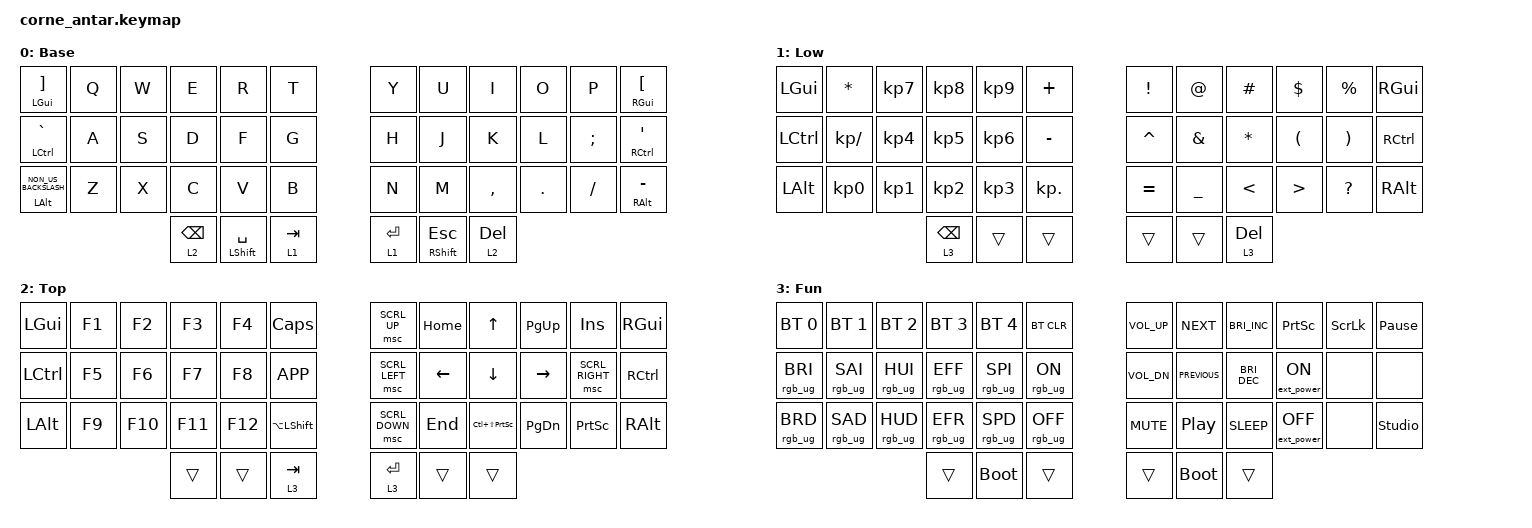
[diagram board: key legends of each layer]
/*
 * Copyright (c) 2020 The ZMK Contributors
 *
 * SPDX-License-Identifier: MIT
 */
//#include <boards/shields/corne_antar/boards/nice_nano.overlay>

#define ZMK_BEHAVIORS_OMIT_KT

#include <behaviors.dtsi>
#include <dt-bindings/zmk/bt.h>
#include <dt-bindings/zmk/ext_power.h>
#include <dt-bindings/zmk/keys.h>
#include <dt-bindings/zmk/pointing.h>
#include <dt-bindings/zmk/rgb.h>

/ {
    combos {
        compatible = "zmk,combos";

        ctrl-z {
            bindings = <&kp LC(Z)>;
            key-positions = <25 23>;
        };

        ctrl-x {
            bindings = <&kp LC(X)>;
            key-positions = <26 23>;
        };

        ctrl-c {
            bindings = <&kp LC(C)>;
            key-positions = <27 23>;
        };

        ctrl-v {
            bindings = <&kp LC(V)>;
            key-positions = <28 23>;
        };

        ctrl-shift-c {
            bindings = <&kp LC(LS(C))>;
            key-positions = <37 27 23>;
        };

        ctrl-shift-v {
            bindings = <&kp LS(LC(V))>;
            key-positions = <37 28 23>;
        };

        ctrl-z-2 {
            bindings = <&kp LC(Z)>;
            key-positions = <12 25>;
        };

        ctrl-x-2 {
            bindings = <&kp LC(X)>;
            key-positions = <12 26>;
        };

        ctrl-c-2 {
            bindings = <&kp LC(C)>;
            key-positions = <27 12>;
        };

        ctrl-v-2 {
            bindings = <&kp LC(V)>;
            key-positions = <12 28>;
        };

        ctrl-shift-c-2 {
            bindings = <&kp LC(LS(C))>;
            key-positions = <12 37 27>;
        };

        ctrl-shift-v-2 {
            bindings = <&kp LS(LC(V))>;
            key-positions = <12 28 37>;
        };
    };

    keymap {
        compatible = "zmk,keymap";

        default_layer {
            // -------------------------------------------------------------------------------------
            // |  TAB |  Q  |  W  |  E  |  R  |  T  |       |  Y  |  U   |  I  |  O  |  P  |   BKSP    |
            // | CTRL |  A  |  S  |  D  |  F  |  G  |       |  H  |  J   |  K  |  L  |  ;  |    '      |
            // | SHFT |  Z  |  X  |  C  |  V  |  B  |       |  N  |  M   |  ,  |  .  |  -  | SHFT(RET) |
            //                    | WIN | LWR | SPA |       | RTN | RSE  | ALT |

            display-name = "Base";
            bindings = <
&mt LEFT_GUI RIGHT_BRACKET     &kp Q  &kp W  &kp E            &kp R                 &kp T        &kp Y        &kp U                   &kp I         &kp O    &kp P      &mt RIGHT_GUI LEFT_BRACKET
&mt LCTRL GRAVE                &kp A  &kp S  &kp D            &kp F                 &kp G        &kp H        &kp J                   &kp K         &kp L    &kp SEMI   &mt RCTRL SQT
&mt LEFT_ALT NON_US_BACKSLASH  &kp Z  &kp X  &kp C            &kp V                 &kp B        &kp N        &kp M                   &kp COMMA     &kp DOT  &kp SLASH  &mt RIGHT_ALT MINUS
                                             &lt 2 BACKSPACE  &mt LEFT_SHIFT SPACE  &lt 1 TAB    &lt 1 ENTER  &mt RIGHT_SHIFT ESCAPE  &lt 2 DELETE
            >;
        };

        lower_layer {
            // ----------------------------------------------------------------------------------
            // |  ESC |  1   |  2  |  3   |  4     |  5  |          |  6  |  7  |  8  |  9  |  0   |    DEL   |
            // |  CAPS|      |     |      |        |     |          | HOME| PGUP|  UP |PGDN |  ?   |     ^    |
            // | SHFT | UNDO | CUT | COPY | PASTE| |     |          | END | LFT | DWN | RGT | PRSC | SHFT(RET)|
            //                              |     |     |          | RET | ADJ |    |

            display-name = "Low";
            bindings = <
&kp LEFT_GUI      &kp ASTERISK     &kp KP_NUMBER_7  &kp KP_NUMBER_8  &kp KP_NUMBER_9  &kp PLUS      &kp EXCLAMATION  &kp AT_SIGN     &kp HASH       &kp DOLLAR            &kp PERCENT            &kp RIGHT_GUI
&kp LEFT_CONTROL  &kp KP_DIVIDE    &kp KP_NUMBER_4  &kp KP_NUMBER_5  &kp KP_NUMBER_6  &kp MINUS     &kp CARET        &kp AMPERSAND   &kp ASTERISK   &kp LEFT_PARENTHESIS  &kp RIGHT_PARENTHESIS  &kp RIGHT_CONTROL
&kp LEFT_ALT      &kp KP_NUMBER_0  &kp KP_NUMBER_1  &kp KP_NUMBER_2  &kp KP_NUMBER_3  &kp KP_DOT    &kp EQUAL        &kp UNDERSCORE  &kp LESS_THAN  &kp GT                &kp QUESTION           &kp RIGHT_ALT
                                                    &lt 3 BACKSPACE  &trans           &trans        &trans           &trans          &lt 3 DELETE
            >;
        };

        // -----------------------------------------------------------------------------------------
        // |  ESC |  !  |  @  |  #  |  $  |  %  |   |  &  |  /  |  (  |  )  |  =  | DEL |
        // | CTRL |   ? |     |     |     |     |   |  -  |  *  |  [  |  ]  |  \  |  `   |
        // | <    |   > |     |     |     |     |   |  _  |  +  |  {  |  }  | "|" |  ~   |
        //                    | GUI | LWR | SPC |   | ENT | RSE | ALT |

        raise_layer {
            display-name = "Top";
            bindings = <
&kp LEFT_GUI      &kp F1  &kp F2   &kp F3   &kp F4   &kp CAPSLOCK          &msc SCRL_UP    &kp HOME        &kp UP_ARROW             &kp PAGE_UP      &kp INSERT       &kp RGUI
&kp LEFT_CONTROL  &kp F5  &kp F6   &kp F7   &kp F8   &kp K_APP             &msc SCRL_LEFT  &kp LEFT_ARROW  &kp DOWN_ARROW           &kp RIGHT_ARROW  &msc SCRL_RIGHT  &kp RIGHT_CONTROL
&kp LEFT_ALT      &kp F9  &kp F10  &kp F11  &kp F12  &kp LA(LEFT_SHIFT)    &msc SCRL_DOWN  &kp END         &kp LC(LS(PRINTSCREEN))  &kp PAGE_DOWN    &kp PRINTSCREEN  &kp RIGHT_ALT
                                   &trans   &trans   &lt 3 TAB             &lt 3 ENTER     &trans          &trans
            >;
        };

        adjust_layer {
            // -----------------------------------------------------------------------------------------
            // |  F1      |  F2      |  F3      | F4       |    F5   |  F6     |   |    F7   |   F8  |    F9   |   F10 |   F11 | F12    |
            // | RGB BRI+ | RGB SAT+ | RGB HUE+ | RGB ANI+ |  BL_TOG | RGB TOG |   |    BT1  |   BT2 |   BT3   |   BT4 |   BT5 | BT CLR |
            // | RGB BRI- | RGB SAT- | RGB HUE- | RGB ANI- |         |  EP_TOG |   |    USB  |   BLE |K_SLEEP  |       |       |  RESET |
            //                                              |     |     |     |     |     |

            display-name = "Fun";
            bindings = <
&bt BT_SEL 0     &bt BT_SEL 1     &bt BT_SEL 2     &bt BT_SEL 3     &bt BT_SEL 4     &bt BT_CLR         &kp C_VOLUME_UP  &kp C_NEXT        &kp C_BRIGHTNESS_INC  &kp PRINTSCREEN    &kp SCROLLLOCK  &kp PAUSE_BREAK
&rgb_ug RGB_BRI  &rgb_ug RGB_SAI  &rgb_ug RGB_HUI  &rgb_ug RGB_EFF  &rgb_ug RGB_SPI  &rgb_ug RGB_ON     &kp C_VOL_DN     &kp C_PREVIOUS    &kp C_BRIGHTNESS_DEC  &ext_power EP_ON   &none           &none
&rgb_ug RGB_BRD  &rgb_ug RGB_SAD  &rgb_ug RGB_HUD  &rgb_ug RGB_EFR  &rgb_ug RGB_SPD  &rgb_ug RGB_OFF    &kp C_MUTE       &kp C_PLAY_PAUSE  &kp K_SLEEP           &ext_power EP_OFF  &none           &studio_unlock
                                                   &trans           &bootloader      &trans             &trans           &bootloader       &trans
            >;
        };

        layer_4 {
            display-name = "Red";
            status = "reserved";
        };

        layer_5 {
            display-name = "Green";
            status = "reserved";
        };

        layer_6 {
            display-name = "Blue";
            status = "reserved";
        };
    };
};

&led_strip { chain-length = <21>; };

